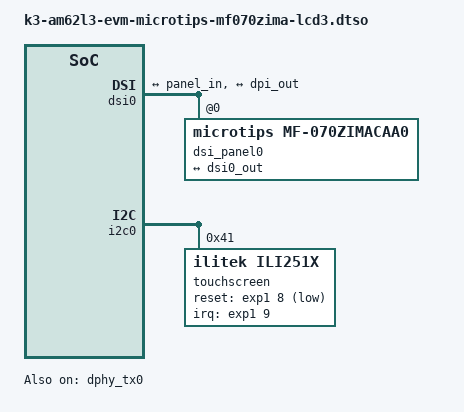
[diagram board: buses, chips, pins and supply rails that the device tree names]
// SPDX-License-Identifier: GPL-2.0-or-later OR MIT
/**
 * Microtips integrated DSI panel (MF-070ZIMACAA0) and touch DT overlay for AM62L3 EVM
 *
 * SK-LCD3: https://www.ti.com/lit/zip/SPRCAM1
 *
 * Copyright (C) 2026 Texas Instruments Incorporated - https://www.ti.com/
 */

/dts-v1/;
/plugin/;

#include <dt-bindings/gpio/gpio.h>
#include <dt-bindings/interrupt-controller/irq.h>

&dss_ports {
	#address-cells = <1>;
	#size-cells = <0>;

	/* VP1: DPI Output to DSI */
	port@0 {
		reg = <0>;

		dpi_out: endpoint {
			remote-endpoint = <&dsi0_in>;
		};
	};
};

&dsi0 {
	status = "okay";
	#address-cells = <1>;
	#size-cells = <0>;

	ports {
		#address-cells = <1>;
		#size-cells = <0>;

		port@0 {
			reg = <0>;

			dsi0_out: endpoint {
				remote-endpoint = <&panel_in>;
			};
		};

		port@1 {
			reg = <1>;

			dsi0_in: endpoint {
				remote-endpoint = <&dpi_out>;
			};
		};
	};

	dsi_panel0: panel-dsi@0 {
		compatible = "microtips,mf-070zimacaa0", "ilitek,ili9881c";
		reg = <0>;

		port {
			panel_in: endpoint {
				remote-endpoint = <&dsi0_out>;
			};
		};
	};
};

&dphy_tx0 {
	status = "okay";
};

&i2c0 {
	#address-cells = <1>;
	#size-cells = <0>;

	touchscreen@41 {
		compatible = "ilitek,ili251x";
		reg = <0x41>;
		reset-gpios = <&exp1 8 GPIO_ACTIVE_LOW>;
		interrupt-parent = <&exp1>;
		interrupts = <9 IRQ_TYPE_EDGE_FALLING>;
	};
};

&sii9022 {
	status = "disabled";
};
